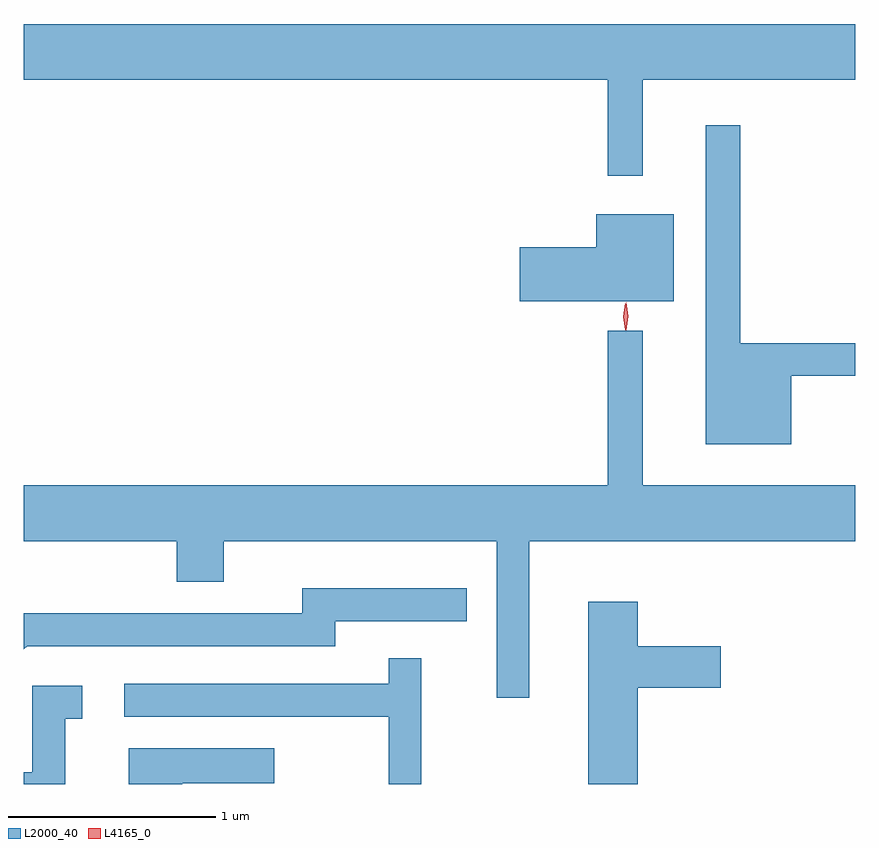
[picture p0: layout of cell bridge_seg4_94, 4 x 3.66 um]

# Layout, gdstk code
import gdstk
lib = gdstk.Library(unit=1e-6, precision=1e-09)
def P(c, l, *ps):  # polygons
    for p in ps: c.add(gdstk.Polygon(p, *l))
L2000_40 = (2000, 40)
L4165_0 = (4165, 0)

bridge_seg4_94 = lib.new_cell('bridge_seg4_94')
P(bridge_seg4_94, L2000_40, [(1028.779,1343.576),(1029.801,1343.576),(1029.801,1343.844),(1025.801,1343.844),(1025.801,1343.576),(1028.611,1343.576),(1028.611,1343.113),(1028.779,1343.113)],
  [(1029.494,1342.151),(1029.801,1342.151),(1029.801,1342.309),(1029.249,1342.309),(1029.249,1343.358),(1029.081,1343.358),(1029.081,1341.821),(1029.494,1341.821)],
  [(1028.929,1342.929),(1028.556,1342.929),(1028.556,1342.769),(1028.186,1342.769),(1028.186,1342.511),(1028.929,1342.511)],
  [(1025.801,1341.356),(1026.536,1341.356),(1026.536,1341.161),(1026.764,1341.161),(1026.764,1341.356),(1028.076,1341.356),(1028.076,1340.603),(1028.234,1340.603),(1028.234,1341.356),(1029.801,1341.356),(1029.801,1341.624),(1028.779,1341.624),(1028.779,1342.368),(1028.611,1342.368),(1028.611,1341.624),(1025.801,1341.624)],
  [(1025.817,1340.851),(1027.299,1340.851),(1027.299,1340.971),(1027.933,1340.971),(1027.933,1341.129),(1027.141,1341.129),(1027.141,1341.009),(1025.801,1341.009),(1025.801,1340.835)],
  [(1028.754,1340.651),(1029.154,1340.651),(1029.154,1340.849),(1028.754,1340.849),(1028.754,1341.064),(1028.516,1341.064),(1028.516,1340.187),(1028.754,1340.187)],
  [(1027.714,1340.793),(1027.556,1340.793),(1027.556,1340.669),(1026.283,1340.669),(1026.283,1340.511),(1027.556,1340.511),(1027.556,1340.187),(1027.714,1340.187)],
  [(1025.999,1340.501),(1026.083,1340.501),(1026.083,1340.659),(1025.841,1340.659),(1025.841,1340.244),(1025.801,1340.244),(1025.801,1340.187),(1025.999,1340.187)],
  [(1026.564,1340.191),(1027.007,1340.191),(1027.007,1340.359),(1026.306,1340.359),(1026.306,1340.187),(1026.564,1340.187)])
P(bridge_seg4_94, L4165_0, [(1028.698,1342.37),(1028.698,1342.37),(1028.689,1342.438),(1028.699,1342.505),(1028.7,1342.506),(1028.7,1342.505),(1028.709,1342.438),(1028.699,1342.37)],
  [(1028.694,1342.373),(1028.685,1342.436),(1028.694,1342.5),(1028.695,1342.5),(1028.695,1342.5),(1028.705,1342.436),(1028.695,1342.373),(1028.695,1342.373)])

lib.write_gds('bridge_seg4_94.gds')
